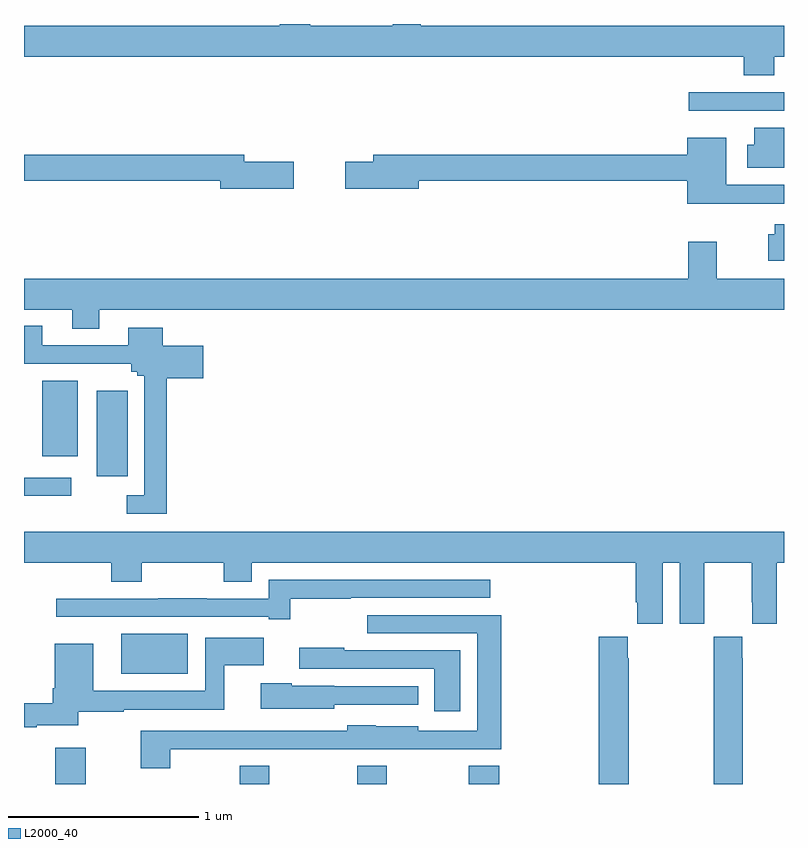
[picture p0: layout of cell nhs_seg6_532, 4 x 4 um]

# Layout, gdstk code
import gdstk
lib = gdstk.Library(unit=1e-6, precision=1e-09)
def R(c, l, rs):  # rectangles x0, y0, x1, y1
    for r in rs: c.add(gdstk.rectangle(r[:2], r[2:], *l))
def P(c, l, *ps):  # polygons
    for p in ps: c.add(gdstk.Polygon(p, *l))
L2000_40 = (2000, 40)

nhs_seg6_532 = lib.new_cell('nhs_seg6_532')
R(nhs_seg6_532, L2000_40, [(143.165,951.5,143.325,951.691), (144.136,951.5,144.291,951.595), (144.754,951.5,144.909,951.595), (145.342,951.5,145.502,951.595), (143.513,952.079,143.863,952.291), (143,953.016,143.248,953.112), (143.384,953.121,143.545,953.569), (143.096,953.225,143.284,953.623)])
P(nhs_seg6_532, L2000_40, [(146.949,955.328),(147,955.328),(147,955.492),(145.087,955.492),(145.087,955.5),(144.94,955.5),(144.94,955.492),(144.507,955.492),(144.507,955.5),(144.347,955.5),(144.347,955.492),(143,955.492),(143,955.328),(146.789,955.328),(146.789,955.229),(146.949,955.229)],
  [(146.747,955.044),(147,955.044),(147,955.14),(146.499,955.14),(146.499,955.043),(146.747,955.043)],
  [(147,954.955),(146.843,954.955),(146.843,954.865),(146.807,954.865),(146.807,954.743),(147,954.743)],
  [(147,954.655),(146.695,954.655),(146.695,954.901),(146.492,954.901),(146.492,954.812),(144.839,954.812),(144.839,954.776),(144.69,954.776),(144.69,954.634),(145.078,954.634),(145.078,954.676),(146.492,954.676),(146.492,954.554),(147,954.554)],
  [(144.421,954.776),(144.16,954.776),(144.16,954.812),(143,954.812),(143,954.676),(144.032,954.676),(144.032,954.634),(144.421,954.634)],
  [(147,954.445),(146.951,954.445),(146.951,954.394),(146.918,954.394),(146.918,954.254),(147,954.254)],
  [(143.395,953.996),(147,953.996),(147,954.16),(146.647,954.16),(146.647,954.355),(146.495,954.355),(146.495,954.16),(143,954.16),(143,953.996),(143.255,953.996),(143.255,953.897),(143.395,953.897)],
  [(143.75,953.636),(143.944,953.636),(143.944,953.806),(143.731,953.806),(143.731,953.902),(143.549,953.902),(143.549,953.808),(143.095,953.808),(143.095,953.911),(143,953.911),(143,953.712),(143.564,953.712),(143.564,953.67),(143.595,953.67),(143.595,953.648),(143.634,953.648),(143.634,953.019),(143.541,953.019),(143.541,952.923),(143.75,952.923)],
  [(146.362,952.664),(146.45,952.664),(146.45,952.344),(146.58,952.344),(146.58,952.456),(146.581,952.456),(146.581,952.664),(146.831,952.664),(146.831,952.456),(146.832,952.456),(146.832,952.344),(146.962,952.344),(146.962,952.664),(147,952.664),(147,952.828),(143,952.828),(143,952.664),(143.459,952.664),(143.459,952.565),(143.619,952.565),(143.619,952.664),(144.052,952.664),(144.052,952.565),(144.199,952.565),(144.199,952.664),(146.219,952.664),(146.219,952.456),(146.228,952.456),(146.228,952.344),(146.362,952.344)],
  [(144.401,952.474),(144.719,952.474),(144.719,952.479),(145.453,952.479),(145.453,952.575),(144.287,952.575),(144.287,952.476),(143.963,952.476),(143.963,952.478),(143.707,952.478),(143.707,952.476),(143.169,952.476),(143.169,952.379),(143.417,952.379),(143.417,952.38),(144.287,952.38),(144.287,952.368),(144.401,952.368)],
  [(143.769,951.683),(144.047,951.683),(144.047,951.684),(144.379,951.684),(144.379,951.683),(144.702,951.683),(144.702,951.684),(145.074,951.684),(145.074,951.683),(145.511,951.683),(145.511,952.389),(144.807,952.389),(144.807,952.293),(145.385,952.293),(145.385,951.78),(145.074,951.78),(145.074,951.805),(144.852,951.805),(144.852,951.808),(144.702,951.808),(144.702,951.78),(143.614,951.78),(143.614,951.582),(143.769,951.582)],
  [(146.784,952.163),(146.781,952.163),(146.781,952.276),(146.631,952.276),(146.631,952.163),(146.629,952.163),(146.629,951.5),(146.784,951.5)],
  [(146.184,952.163),(146.177,952.163),(146.177,952.276),(146.024,952.276),(146.024,951.5),(146.184,951.5)],
  [(143.066,951.81),(143.285,951.81),(143.285,951.88),(143.525,951.88),(143.525,951.89),(144.053,951.89),(144.053,952.124),(144.262,952.124),(144.262,952.27),(143.955,952.27),(143.955,951.991),(143.365,951.991),(143.365,952.237),(143.162,952.237),(143.162,952.003),(143.15,952.003),(143.15,951.926),(143,951.926),(143,951.798),(143.066,951.798)],
  [(145.297,952.203),(144.685,952.203),(144.685,952.216),(144.449,952.216),(144.449,952.107),(145.16,952.107),(145.16,951.882),(145.297,951.882)],
  [(144.633,951.918),(145.075,951.918),(145.075,952.014),(144.633,952.014),(144.633,952.018),(144.408,952.018),(144.408,952.029),(144.246,952.029),(144.246,951.896),(144.633,951.896)])

lib.write_gds('nhs_seg6_532.gds')
